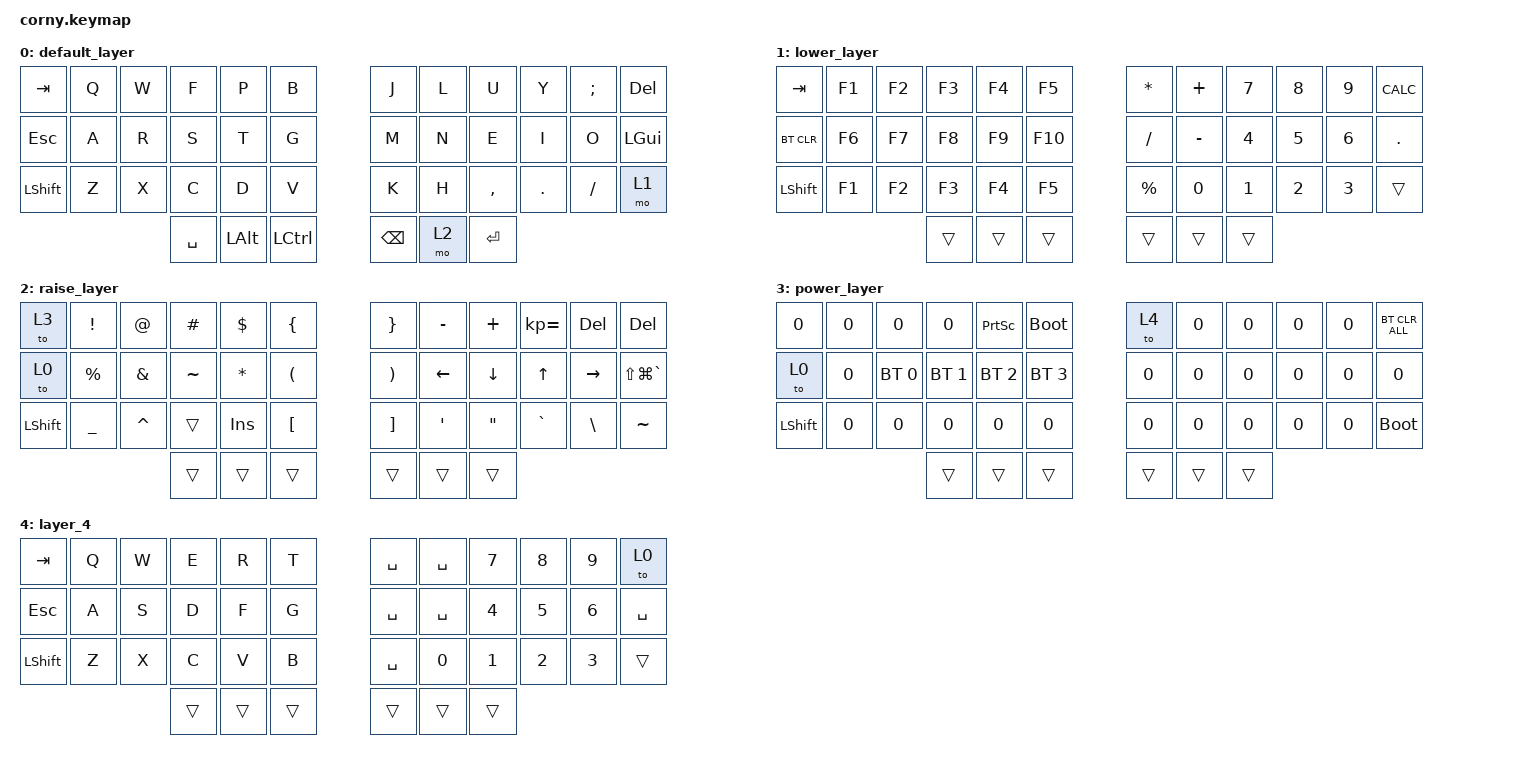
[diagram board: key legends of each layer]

#include <behaviors.dtsi>
#include <dt-bindings/zmk/bt.h>
#include <dt-bindings/zmk/keys.h>

/ {
    keymap {
        compatible = "zmk,keymap";

        default_layer {
            bindings = <
&kp TAB    &kp Q  &kp W  &kp F      &kp P         &kp B               &kp J          &kp L  &kp U      &kp Y    &kp SEMICOLON  &kp DEL
&kp ESC    &kp A  &kp R  &kp S      &kp T         &kp G               &kp M          &kp N  &kp E      &kp I    &kp O          &kp LEFT_GUI
&kp LSHFT  &kp Z  &kp X  &kp C      &kp D         &kp V               &kp K          &kp H  &kp COMMA  &kp DOT  &kp FSLH       &mo 1
                         &kp SPACE  &kp LEFT_ALT  &kp LEFT_CONTROL    &kp BACKSPACE  &mo 2  &kp ENTER
            >;
        };

        lower_layer {
            bindings = <
&kp TAB     &kp F1  &kp F2  &kp F3  &kp F4  &kp F5     &kp ASTERISK  &kp PLUS   &kp N7  &kp N8  &kp N9  &kp K_CALC
&bt BT_CLR  &kp F6  &kp F7  &kp F8  &kp F9  &kp F10    &kp SLASH     &kp MINUS  &kp N4  &kp N5  &kp N6  &kp DOT
&kp LSHFT   &kp F1  &kp F2  &kp F3  &kp F4  &kp F5     &kp PERCENT   &kp N0     &kp N1  &kp N2  &kp N3  &trans
                            &trans  &trans  &trans     &trans        &trans     &trans
            >;
        };

        raise_layer {
            bindings = <
&to 3      &kp EXCLAMATION  &kp AT         &kp HASH   &kp DOLLAR    &kp LEFT_BRACE    &kp RBRC  &kp MINUS         &kp PLUS        &kp KP_EQUAL  &kp DEL          &kp DEL
&to 0      &kp PERCENT      &kp AMPERSAND  &kp TILDE  &kp ASTERISK  &kp LPAR          &kp RPAR  &kp LEFT_ARROW    &kp DOWN_ARROW  &kp UP_ARROW  &kp RIGHT_ARROW  &kp LS(LG(GRAVE))
&kp LSHFT  &kp UNDERSCORE   &kp CARET      &trans     &kp INS        &kp LBKT          &kp RBKT  &kp SINGLE_QUOTE  &kp DQT         &kp GRAVE     &kp BSLH         &kp TILDE
                                           &trans     &trans        &trans            &trans    &trans            &trans
            >;
        };

        power_layer {
            bindings = <
&kp N0     &kp N0  &kp N0        &kp N0        &kp PRINTSCREEN  &bootloader      &to 4   &kp N0  &kp N0  &kp N0  &kp N0  &bt BT_CLR_ALL
&to 0      &kp N0  &bt BT_SEL 0  &bt BT_SEL 1  &bt BT_SEL 2     &bt BT_SEL 3    &kp N0  &kp N0  &kp N0  &kp N0  &kp N0  &kp N0
&kp LSHFT  &kp N0  &kp N0        &kp N0        &kp N0           &kp N0          &kp N0  &kp N0  &kp N0  &kp N0  &kp N0  &bootloader
                                 &trans        &trans           &trans          &trans  &trans  &trans
            >;
        };

        layer_4 {
            bindings = <
&kp TAB    &kp Q  &kp W  &kp E   &kp R   &kp T     &kp SPACE  &kp SPACE  &kp N7  &kp N8  &kp N9  &to 0
&kp ESC    &kp A  &kp S  &kp D   &kp F   &kp G     &kp SPACE  &kp SPACE  &kp N4  &kp N5  &kp N6  &kp SPACE
&kp LSHFT  &kp Z  &kp X  &kp C   &kp V   &kp B     &kp SPACE  &kp N0     &kp N1  &kp N2  &kp N3  &trans
                         &trans  &trans  &trans    &trans     &trans     &trans
            >;
        };
    };
};

